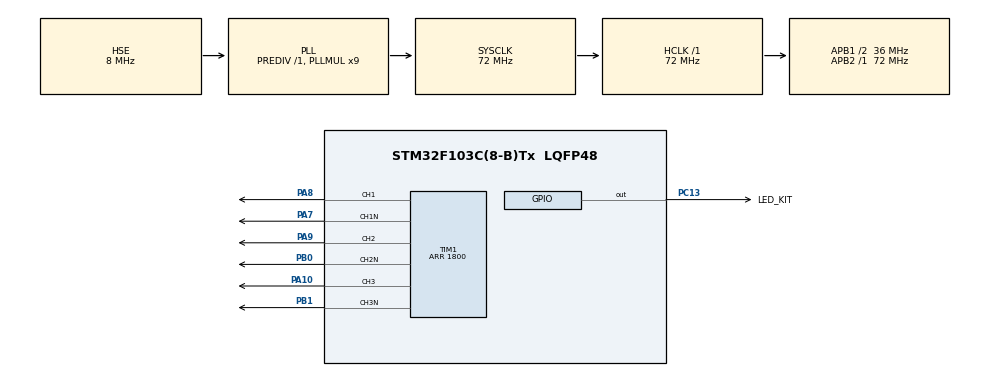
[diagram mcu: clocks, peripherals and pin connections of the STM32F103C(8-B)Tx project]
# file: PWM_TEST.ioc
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Mcu.Family=STM32F1
Mcu.Name=STM32F103C(8-B)Tx
Mcu.Package=LQFP48
NVIC.PriorityGroup=NVIC_PRIORITYGROUP_4
NVIC.TIM1_UP_IRQn=true\:0\:0\:false\:true\:true\:1\:true
NVIC.TIM2_IRQn=true\:1\:0\:true\:true\:true\:2\:true
NVIC.TIM3_IRQn=true\:0\:0\:false\:true\:true\:3\:true
PA10.Signal=S_TIM1_CH3
PA13.Mode=Serial_Wire
PA13.Signal=SYS_JTMS-SWDIO
PA14.Mode=Serial_Wire
PA14.Signal=SYS_JTCK-SWCLK
PA7.Mode=PWM Generation1 CH1 CH1N
PA7.Signal=TIM1_CH1N
PA8.Signal=S_TIM1_CH1
PA9.Signal=S_TIM1_CH2
PB0.Mode=PWM Generation2 CH2 CH2N
PB0.Signal=TIM1_CH2N
PB1.Mode=PWM Generation3 CH3 CH3N
PB1.Signal=TIM1_CH3N
PC13-TAMPER-RTC.GPIO_Label=LED_KIT
PC13-TAMPER-RTC.Signal=GPIO_Output
PD0-OSC_IN.Mode=HSE-External-Oscillator
PD0-OSC_IN.Signal=RCC_OSC_IN
PD1-OSC_OUT.Mode=HSE-External-Oscillator
PD1-OSC_OUT.Signal=RCC_OSC_OUT
ProjectManager.HeapSize=0x200
ProjectManager.StackSize=0x400
ProjectManager.TargetToolchain=MDK-ARM V5
RCC.AHBFreq_Value=72000000
RCC.APB1CLKDivider=RCC_HCLK_DIV2
RCC.APB1Freq_Value=36000000
RCC.APB1TimFreq_Value=72000000
RCC.APB2Freq_Value=72000000
RCC.APB2TimFreq_Value=72000000
RCC.HCLKFreq_Value=72000000
RCC.PLLMUL=RCC_PLL_MUL9
RCC.PLLSourceVirtual=RCC_PLLSOURCE_HSE
RCC.SYSCLKFreq_VALUE=72000000
RCC.SYSCLKSource=RCC_SYSCLKSOURCE_PLLCLK
RCC.USBFreq_Value=72000000
SH.S_TIM1_CH1.0=TIM1_CH1,PWM Generation1 CH1 CH1N
SH.S_TIM1_CH2.0=TIM1_CH2,PWM Generation2 CH2 CH2N
SH.S_TIM1_CH3.0=TIM1_CH3,PWM Generation3 CH3 CH3N
TIM1.BreakState=TIM_BREAK_DISABLE
TIM1.Channel-PWM\ Generation1\ CH1\ CH1N=TIM_CHANNEL_1
TIM1.Channel-PWM\ Generation2\ CH2\ CH2N=TIM_CHANNEL_2
TIM1.Channel-PWM\ Generation3\ CH3\ CH3N=TIM_CHANNEL_3
TIM1.CounterMode=TIM_COUNTERMODE_CENTERALIGNED1
TIM1.DeadTime=0
TIM1.OCNPolarity_1=TIM_OCNPOLARITY_HIGH
TIM1.OCNPolarity_2=TIM_OCNPOLARITY_HIGH
TIM1.OCNPolarity_3=TIM_OCNPOLARITY_HIGH
TIM1.OCPolarity_1=TIM_OCPOLARITY_LOW
TIM1.OCPolarity_2=TIM_OCPOLARITY_LOW
TIM1.OCPolarity_3=TIM_OCPOLARITY_LOW
TIM1.Period=1800
TIM1.Pulse-PWM\ Generation2\ CH2\ CH2N=0
TIM1.Pulse-PWM\ Generation3\ CH3\ CH3N=0
TIM2.Period=9999
TIM2.Prescaler=719
TIM3.Period=999
TIM3.Prescaler=239
VP_TIM1_VS_ClockSourceINT.Mode=Internal
VP_TIM2_VS_ClockSourceINT.Mode=Internal
VP_TIM3_VS_ClockSourceINT.Mode=Internal
board=custom

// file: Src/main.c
/* USER CODE BEGIN Header */
/**
  ******************************************************************************
  * @file           : main.c
  * @brief          : Main program body
  ******************************************************************************
  ** This notice applies to any and all portions of this file
  * that are not between comment pairs USER CODE BEGIN and
  * USER CODE END. Other portions of this file, whether
  * inserted by the user or by software development tools
  * are owned by their respective copyright owners.
  *
  * COPYRIGHT(c) 2020 STMicroelectronics
  *
  * Redistribution and use in source and binary forms, with or without modification,
  * are permitted provided that the following conditions are met:
  *   1. Redistributions of source code must retain the above copyright notice,
  *      this list of conditions and the following disclaimer.
  *   2. Redistributions in binary form must reproduce the above copyright notice,
  *      this list of conditions and the following disclaimer in the documentation
  *      and/or other materials provided with the distribution.
  *   3. Neither the name of STMicroelectronics nor the names of its contributors
  *      may be used to endorse or promote products derived from this software
  *      without specific prior written permission.
  *
  * THIS SOFTWARE IS PROVIDED BY THE COPYRIGHT HOLDERS AND CONTRIBUTORS "AS IS"
  * AND ANY EXPRESS OR IMPLIED WARRANTIES, INCLUDING, BUT NOT LIMITED TO, THE
  * IMPLIED WARRANTIES OF MERCHANTABILITY AND FITNESS FOR A PARTICULAR PURPOSE ARE
  * DISCLAIMED. IN NO EVENT SHALL THE COPYRIGHT HOLDER OR CONTRIBUTORS BE LIABLE
  * FOR ANY DIRECT, INDIRECT, INCIDENTAL, SPECIAL, EXEMPLARY, OR CONSEQUENTIAL
  * DAMAGES (INCLUDING, BUT NOT LIMITED TO, PROCUREMENT OF SUBSTITUTE GOODS OR
  * SERVICES; LOSS OF USE, DATA, OR PROFITS; OR BUSINESS INTERRUPTION) HOWEVER
  * CAUSED AND ON ANY THEORY OF LIABILITY, WHETHER IN CONTRACT, STRICT LIABILITY,
  * OR TORT (INCLUDING NEGLIGENCE OR OTHERWISE) ARISING IN ANY WAY OUT OF THE USE
  * OF THIS SOFTWARE, EVEN IF ADVISED OF THE POSSIBILITY OF SUCH DAMAGE.
  *
  ******************************************************************************
  */
/* USER CODE END Header */

#include "main.h"

/* USER CODE BEGIN PD */
#define PULSE_PER_CYCLE 600
#define WIDTH_OF_STEP		(PULSE_PER_CYCLE/6)
#define TIM_PWM 	htim1

#define SW1_A8_PWM_MODE_CH1				MODIFY_REG(GPIOA->CRH, GPIO_CRH_CNF8_Msk, 0x00000002 << GPIO_CRH_CNF8_Pos)
#define SW2_A9_PWM_MODE_CH2				MODIFY_REG(GPIOA->CRH, GPIO_CRH_CNF9_Msk, 0x00000002 << GPIO_CRH_CNF9_Pos)
#define SW3_A10_PWM_MODE_CH3			MODIFY_REG(GPIOA->CRH, GPIO_CRH_CNF10_Msk,0x00000002 << GPIO_CRH_CNF10_Pos)

#define SW4_A7_PWM_MODE_CH1N			MODIFY_REG(GPIOA->CRL, GPIO_CRL_CNF7_Msk, 0x00000002 << GPIO_CRL_CNF7_Pos)
#define SW5_B0_PWM_MODE_CH2N			MODIFY_REG(GPIOB->CRL, GPIO_CRL_CNF0_Msk, 0x00000002 << GPIO_CRL_CNF0_Pos)
#define SW6_B1_PWM_MODE_CH3N			MODIFY_REG(GPIOB->CRL, GPIO_CRL_CNF1_Msk, 0x00000002 << GPIO_CRL_CNF1_Pos)

#define SW1_A8_GPIO_MODE					MODIFY_REG(GPIOA->CRH, GPIO_CRH_CNF8_Msk, 0)
#define SW2_A9_GPIO_MODE					MODIFY_REG(GPIOA->CRH, GPIO_CRH_CNF9_Msk, 0)
#define SW3_A10_GPIO_MODE					MODIFY_REG(GPIOA->CRH, GPIO_CRH_CNF10_Msk,0)

#define SW4_A7_GPIO_MODE					MODIFY_REG(GPIOA->CRL, GPIO_CRL_CNF7_Msk, 0)
#define SW5_B0_GPIO_MODE					MODIFY_REG(GPIOB->CRL, GPIO_CRL_CNF0_Msk, 0)
#define SW6_B1_GPIO_MODE					MODIFY_REG(GPIOB->CRL, GPIO_CRL_CNF1_Msk, 0)
/* USER CODE END PD */

TIM_HandleTypeDef htim1;
TIM_HandleTypeDef htim2;
TIM_HandleTypeDef htim3;

/* USER CODE BEGIN PV */
int16_t i=0,
				j=4*WIDTH_OF_STEP,
				k=2*WIDTH_OF_STEP;
				/*
int16_t VREF[PULSE_PER_CYCLE] = {
	225,	447,	662,	867,	1058,	1232,	1386,	1519,	1628,	1711,	1768,	1796,
	1796,	1768,	1711,	1628,	1519,	1386,	1232,	1058,	867,	662,	447,	225,
	-226,	-448,	-663,	-868,	-1059,	-1233,	-1387,	-1520,	-1629,	-1712,	-1768,	-1796,
	-1796,	-1768,	-1712,	-1629,	-1520,	-1387,	-1233,	-1059,	-868,	-663,	-448,	-226 };*/
int temp =0;

int16_t VREF[PULSE_PER_CYCLE] = {0,  19,  38,  57,  75,  94,  113,  132,  151,  169,  188,  207,  226,  244,  263,  282,  300,
  319,  337,  356,  374,  393,  411,  429,  448,  466,  484,  502,  520,  538,  556,  574,  592,  610,  627,
	645,  663,  680,  698,  715,  732,  749,  766,  783,  800,  817,  834,  851,  867,  884,  900,  916,  932,
	949,  964,  980,  996,  1012,  1027,  1043,  1058,  1073,  1088,  1103,  1118,  1133,  1147,  1162,  1176,
	1190,  1204,  1218,  1232,  1246,  1259,  1273,  1286,  1299,  1312,  1325,  1338,  1350,  1363,  1375,  1387,
	1399,  1411,  1422,  1434,  1445,  1456,  1467,  1478,  1489,  1499,  1510,  1520,  1530,  1540,  1549,  1559,
	1568,  1577,  1586,  1595,  1604,  1612,  1621,  1629,  1637,  1644,  1652,  1659,  1667,  1674,  1680,  1687,
	1694,  1700,  1706,  1712,  1718,  1723,  1729,  1734,  1739,  1743,  1748,  1752,  1757,  1761,  1764,  1768,
  1772,  1775,  1778,  1781,  1783,  1786,  1788,  1790,  1792,  1794,  1795,  1796,  1798,  1798,  1799,  1800,
	1800,  1800,  1800,  1800,  1799,  1798,  1798,  1796,  1795,  1794,  1792,  1790,  1788,  1786,  1783,  1781,
	1778,  1775,  1772,  1768,  1764,  1761,  1757,  1752,  1748,  1743,  1739,  1734,  1729,  1723,  1718,  1712,
  1706,  1700,  1694,  1687,  1680,  1674,  1667,  1659,  1652,  1644,  1637,  1629,  1621,  1612,  1604,  1595,
	1586,  1577,  1568,  1559,  1549,  1540,  1530,  1520,  1510,  1499,  1489,  1478,  1467,  1456,  1445,  1434,
	1422,  1411,  1399,  1387,  1375,  1363,  1350,  1338,  1325,  1312,  1299,  1286,  1273,  1259,  1246,  1232,
  1218,  1204,  1190,  1176,  1162,  1147,  1133,  1118,  1103,  1088,  1073,  1058,  1043,  1027,  1012,  996,
	980,  964,  949,  932,  916,  900,  884,  867,  851,  834,  817,  800,  783,  766,  749,  732,  715,  698,
	680,  663,  645,  627,  610,  592,  574,  556,  538,  520,  502,  484,  466,  448,  429,  411,  393,  374,
	356,  337,  319,  300,  282,  263,  244,  226,  207,  188,  169,  151,  132,  113,  94,  75,  57,  38,  19,
	0,  -19,  -38,  -57,  -75,  -94,  -113,  -132,  -151,  -169,  -188,  -207,  -226,  -244,  -263,  -282,  -300,
	-319,  -337,  -356,  -374,  -393,  -411,  -429,  -448,  -466,  -484,  -502,  -520,  -538,  -556,  -574,  -592,
  -610,  -627,  -645,  -663,  -680,  -698,  -715,  -732,  -749,  -766,  -783,  -800,  -817,  -834,  -851,  -867,
  -884,  -900,  -916,  -932,  -949,  -964,  -980,  -996,  -1012,  -1027,  -1043,  -1058,  -1073,  -1088,  -1103,
  -1118,  -1133,  -1147,  -1162,  -1176,  -1190,  -1204,  -1218,  -1232,  -1246,  -1259,  -1273,  -1286,  -1299,
  -1312,  -1325,  -1338,  -1350,  -1363,  -1375,  -1387,  -1399,  -1411,  -1422,  -1434,  -1445,  -1456,  -1467,
  -1478,  -1489,  -1499,  -1510,  -1520,  -1530,  -1540,  -1549,  -1559,  -1568,  -1577,  -1586,  -1595,  -1604,
	-1612,  -1621,  -1629,  -1637,  -1644,  -1652,  -1659,  -1667,  -1674,  -1680,  -1687,  -1694,  -1700,  -1706,
	-1712,  -1718,  -1723,  -1729,  -1734,  -1739,  -1743,  -1748,  -1752,  -1757,  -1761,  -1764,  -1768,  -1772,
	-1775,  -1778,  -1781,  -1783,  -1786,  -1788,  -1790,  -1792,  -1794,  -1795,  -1796,  -1798,  -1798,  -1799,
	-1800,  -1800,  -1800,  -1800,  -1800,  -1799,  -1798,  -1798,  -1796,  -1795,  -1794,  -1792,  -1790,  -1788,
  -1786,  -1783,  -1781,  -1778,  -1775,  -1772,  -1768,  -1764,  -1761,  -1757,  -1752,  -1748,  -1743,  -1739,
  -1734,  -1729,  -1723,  -1718,  -1712,  -1706,  -1700,  -1694,  -1687,  -1680,  -1674,  -1667,  -1659,  -1652,
  -1644,  -1637,  -1629,  -1621,  -1612,  -1604,  -1595,  -1586,  -1577,  -1568,  -1559,  -1549,  -1540,  -1530,
  -1520,  -1510,  -1499,  -1489,  -1478,  -1467,  -1456,  -1445,  -1434,  -1422,  -1411,  -1399,  -1387,  -1375,
  -1363,  -1350,  -1338,  -1325,  -1312,  -1299,  -1286,  -1273,  -1259,  -1246,  -1232,  -1218,  -1204,  -1190,
  -1176,  -1162,  -1147,  -1133,  -1118,  -1103,  -1088,  -1073,  -1058,  -1043,  -1027,  -1012,  -996,  -980,
	-964,  -949,  -932,  -916,  -900,  -884,  -867,  -851,  -834,  -817,  -800,  -783,  -766,  -749,  -732,  -715,
  -698,  -680,  -663,  -645,  -627,  -610,  -592,  -574,  -556,  -538,  -520,  -502,  -484,  -466,  -448,  -429,
  -411,  -393,  -374,  -356,  -337,  -319,  -300,  -282,  -263,  -244,  -226,  -207,  -188,  -169,  -151,  -132,
-113,  -94,  -75,  -57,  -38,  -19};

/* USER CODE END PV */

void SystemClock_Config(void);
static void MX_GPIO_Init(void);
static void MX_TIM1_Init(void);
static void MX_TIM2_Init(void);
static void MX_TIM3_Init(void);
static void MX_NVIC_Init(void);
/* USER CODE BEGIN PFP */
void Step1(void);
void Step2(void);
void Step3(void);
void Step4(void);
void Step5(void);
void Step6(void);
void SW1_PWM_SW4_off(void);
void SW2_PWM_SW5_off(void);
void SW3_PWM_SW6_off(void);
void SW4_PWM_SW1_off(void);
void SW5_PWM_SW2_off(void);
void SW6_PWM_SW3_off(void);
void DisableAll(void);
void Step1(void)
{
	SW1_PWM_SW4_off();
	SW3_PWM_SW6_off();
	SW5_PWM_SW2_off();
	TIM1->CCR1 = VREF[i];
	TIM1->CCR2 = -VREF[j];
	TIM1->CCR3 = VREF[k];
}
void Step2(void)
{
	SW1_PWM_SW4_off();
	SW5_PWM_SW2_off();
	SW6_PWM_SW3_off();
	TIM1->CCR1 = VREF[i];
	TIM1->CCR2 = -VREF[j];
	TIM1->CCR3 = -VREF[k];
}
void Step3(void)
{
	SW1_PWM_SW4_off();
	SW2_PWM_SW5_off();
	SW6_PWM_SW3_off();
	TIM1->CCR1 = VREF[i];
	TIM1->CCR2 = VREF[j];
	TIM1->CCR3 = -VREF[k];
}
void Step4(void)
{
	SW2_PWM_SW5_off();
	SW4_PWM_SW1_off();
	SW6_PWM_SW3_off();
	TIM1->CCR1 = -VREF[i];
	TIM1->CCR2 = VREF[j];
	TIM1->CCR3 = -VREF[k];
}
void Step5(void)
{
	SW2_PWM_SW5_off();
	SW3_PWM_SW6_off();
	SW4_PWM_SW1_off();
	TIM1->CCR1 = -VREF[i];
	TIM1->CCR2 = VREF[j];
	TIM1->CCR3 = VREF[k];
}
void Step6(void)
{
	SW3_PWM_SW6_off();
	SW5_PWM_SW2_off();
	SW4_PWM_SW1_off();
	TIM1->CCR1 = -VREF[i];
	TIM1->CCR2 = -VREF[j];
	TIM1->CCR3 = VREF[k];
}
void SW1_PWM_SW4_off(void)
{
	//turn off SW4
	SW4_A7_GPIO_MODE;
	HAL_GPIO_WritePin(GPIOA,GPIO_PIN_7, GPIO_PIN_SET);
	//turn on PWM on PA8 (TIM1_CH1)
	SW1_A8_PWM_MODE_CH1;
}
void SW2_PWM_SW5_off(void)
{
	//turn off SW5
	SW5_B0_GPIO_MODE;
	HAL_GPIO_WritePin(GPIOB,GPIO_PIN_0, GPIO_PIN_SET);
 	//turn on PWM on PA9 (TIM1_CH2)
	SW2_A9_PWM_MODE_CH2;
}
void SW3_PWM_SW6_off(void)
{
		//turn off SW5
	SW6_B1_GPIO_MODE;
	HAL_GPIO_WritePin(GPIOB,GPIO_PIN_1, GPIO_PIN_SET);
 	//turn on PWM on PA10 (TIM1_CH3)
	SW3_A10_PWM_MODE_CH3;
}
void SW4_PWM_SW1_off(void)
{
	//turn off SW1
	SW1_A8_GPIO_MODE;
	HAL_GPIO_WritePin(GPIOA, GPIO_PIN_8, GPIO_PIN_SET);
	//turn on PWM on PA7 (TIM1_CH1)
	SW4_A7_PWM_MODE_CH1N;
}
void SW5_PWM_SW2_off(void)
{
	//turn off SW2
	SW2_A9_GPIO_MODE;
	HAL_GPIO_WritePin(GPIOA, GPIO_PIN_9, GPIO_PIN_SET);
	//turn on PWM on PB0 (TIM1_CH2)
	SW5_B0_PWM_MODE_CH2N;
}
void SW6_PWM_SW3_off(void)
{
	//turn off SW3
	SW3_A10_GPIO_MODE;
	HAL_GPIO_WritePin(GPIOA, GPIO_PIN_10, GPIO_PIN_SET);
	//turn on PWM on PB1 (TIM1_CH3)
	SW6_B1_PWM_MODE_CH3N;
}

void DisableAll(void)
{
	HAL_GPIO_WritePin(GPIOA, GPIO_PIN_7|GPIO_PIN_8|GPIO_PIN_9|GPIO_PIN_10, GPIO_PIN_SET);
	HAL_GPIO_WritePin(GPIOB, GPIO_PIN_0|GPIO_PIN_1,GPIO_PIN_SET);
	SW1_A8_GPIO_MODE;
	SW2_A9_GPIO_MODE;
	SW3_A10_GPIO_MODE;
	SW4_A7_GPIO_MODE;
	SW5_B0_GPIO_MODE;
	SW6_B1_GPIO_MODE;
}

/* USER CODE END PFP */

/* USER CODE BEGIN 0 */
void HAL_TIM_PeriodElapsedCallback(TIM_HandleTypeDef *htim)
{
	if ((htim->Instance == TIM1)&(TIM1->CNT < 1600))
	{
		if (i<WIDTH_OF_STEP)
		{
			Step1();
		}
		else if (i<(2*WIDTH_OF_STEP))
		{
			Step2();
		}
		else if (i<(3*WIDTH_OF_STEP))
		{
			Step3();
		}
		else if (i<(4*WIDTH_OF_STEP))
		{
			Step4();
		}
		else if (i<(5*WIDTH_OF_STEP))
		{
			Step5();
		}
		else if (i<(6*WIDTH_OF_STEP))
		{
			Step6();
		}
		temp = VREF[i];
		HAL_GPIO_ReadPin(GPIOA,GPIO_PIN_0);
		i++;
		j++;
		k++;
		if (i == PULSE_PER_CYCLE) i = 0;
		if (j == PULSE_PER_CYCLE) j = 0;
		if (k == PULSE_PER_CYCLE) k = 0;
		HAL_GPIO_TogglePin(LED_KIT_GPIO_Port, LED_KIT_Pin);
	}
	if (htim->Instance == TIM3)
	{
	}
	if (htim->Instance == TIM2)
	{

	}
}
/* USER CODE END 0 */

int main(void)
{

  /* MCU Configuration--------------------------------------------------------*/

  /* Reset of all peripherals, Initializes the Flash interface and the Systick. */
  HAL_Init();

  /* Configure the system clock */
  SystemClock_Config();

  /* Initialize all configured peripherals */
  MX_GPIO_Init();
  MX_TIM1_Init();
  MX_TIM2_Init();
  MX_TIM3_Init();

  /* Initialize interrupts */
  MX_NVIC_Init();
  /* USER CODE BEGIN 2 */
	HAL_TIM_Base_Start_IT(&htim2);
	HAL_TIM_Base_Start_IT(&htim1);
	HAL_TIM_PWM_Start(&htim1, TIM_CHANNEL_1);
	HAL_TIMEx_PWMN_Start(&htim1, TIM_CHANNEL_1);
	HAL_TIM_PWM_Start(&htim1, TIM_CHANNEL_2);
	HAL_TIMEx_PWMN_Start(&htim1, TIM_CHANNEL_2);
	HAL_TIM_PWM_Start(&htim1, TIM_CHANNEL_3);
	HAL_TIMEx_PWMN_Start(&htim1, TIM_CHANNEL_3);
	DisableAll();
  /* USER CODE END 2 */

  /* Infinite loop */
  while (1)
  {

  }
}

void SystemClock_Config(void)
{
  RCC_OscInitTypeDef RCC_OscInitStruct = {0};
  RCC_ClkInitTypeDef RCC_ClkInitStruct = {0};

  /**Initializes the CPU, AHB and APB busses clocks
  */
  RCC_OscInitStruct.OscillatorType = RCC_OSCILLATORTYPE_HSE;
  RCC_OscInitStruct.HSEState = RCC_HSE_ON;
  RCC_OscInitStruct.HSEPredivValue = RCC_HSE_PREDIV_DIV1;
  RCC_OscInitStruct.HSIState = RCC_HSI_ON;
  RCC_OscInitStruct.PLL.PLLState = RCC_PLL_ON;
  RCC_OscInitStruct.PLL.PLLSource = RCC_PLLSOURCE_HSE;
  RCC_OscInitStruct.PLL.PLLMUL = RCC_PLL_MUL9;
  if (HAL_RCC_OscConfig(&RCC_OscInitStruct) != HAL_OK)
  {
    Error_Handler();
  }
  /**Initializes the CPU, AHB and APB busses clocks
  */
  RCC_ClkInitStruct.ClockType = RCC_CLOCKTYPE_HCLK|RCC_CLOCKTYPE_SYSCLK
                              |RCC_CLOCKTYPE_PCLK1|RCC_CLOCKTYPE_PCLK2;
  RCC_ClkInitStruct.SYSCLKSource = RCC_SYSCLKSOURCE_PLLCLK;
  RCC_ClkInitStruct.AHBCLKDivider = RCC_SYSCLK_DIV1;
  RCC_ClkInitStruct.APB1CLKDivider = RCC_HCLK_DIV2;
  RCC_ClkInitStruct.APB2CLKDivider = RCC_HCLK_DIV1;

  if (HAL_RCC_ClockConfig(&RCC_ClkInitStruct, FLASH_LATENCY_2) != HAL_OK)
  {
    Error_Handler();
  }
}

/**
  * @brief NVIC Configuration.
  * @retval None
  */
static void MX_NVIC_Init(void)
{
  /* TIM1_UP_IRQn interrupt configuration */
  HAL_NVIC_SetPriority(TIM1_UP_IRQn, 0, 0);
  HAL_NVIC_EnableIRQ(TIM1_UP_IRQn);
  /* TIM2_IRQn interrupt configuration */
  HAL_NVIC_SetPriority(TIM2_IRQn, 1, 0);
  HAL_NVIC_EnableIRQ(TIM2_IRQn);
  /* TIM3_IRQn interrupt configuration */
  HAL_NVIC_SetPriority(TIM3_IRQn, 0, 0);
  HAL_NVIC_EnableIRQ(TIM3_IRQn);
}

static void MX_TIM1_Init(void)
{

  TIM_ClockConfigTypeDef sClockSourceConfig = {0};
  TIM_MasterConfigTypeDef sMasterConfig = {0};
  TIM_OC_InitTypeDef sConfigOC = {0};
  TIM_BreakDeadTimeConfigTypeDef sBreakDeadTimeConfig = {0};

  htim1.Instance = TIM1;
  htim1.Init.Prescaler = 0;
  htim1.Init.CounterMode = TIM_COUNTERMODE_CENTERALIGNED1;
  htim1.Init.Period = 1800;
  htim1.Init.ClockDivision = TIM_CLOCKDIVISION_DIV1;
  htim1.Init.RepetitionCounter = 0;
  htim1.Init.AutoReloadPreload = TIM_AUTORELOAD_PRELOAD_DISABLE;
  if (HAL_TIM_Base_Init(&htim1) != HAL_OK)
  {
    Error_Handler();
  }
  sClockSourceConfig.ClockSource = TIM_CLOCKSOURCE_INTERNAL;
  if (HAL_TIM_ConfigClockSource(&htim1, &sClockSourceConfig) != HAL_OK)
  {
    Error_Handler();
  }
  if (HAL_TIM_PWM_Init(&htim1) != HAL_OK)
  {
    Error_Handler();
  }
  sMasterConfig.MasterOutputTrigger = TIM_TRGO_RESET;
  sMasterConfig.MasterSlaveMode = TIM_MASTERSLAVEMODE_DISABLE;
  if (HAL_TIMEx_MasterConfigSynchronization(&htim1, &sMasterConfig) != HAL_OK)
  {
    Error_Handler();
  }
  sConfigOC.OCMode = TIM_OCMODE_PWM1;
  sConfigOC.Pulse = 0;
  sConfigOC.OCPolarity = TIM_OCPOLARITY_LOW;
  sConfigOC.OCNPolarity = TIM_OCNPOLARITY_HIGH;
  sConfigOC.OCFastMode = TIM_OCFAST_DISABLE;
  sConfigOC.OCIdleState = TIM_OCIDLESTATE_RESET;
  sConfigOC.OCNIdleState = TIM_OCNIDLESTATE_RESET;
  if (HAL_TIM_PWM_ConfigChannel(&htim1, &sConfigOC, TIM_CHANNEL_1) != HAL_OK)
  {
    Error_Handler();
  }
  if (HAL_TIM_PWM_ConfigChannel(&htim1, &sConfigOC, TIM_CHANNEL_2) != HAL_OK)
  {
    Error_Handler();
  }
  if (HAL_TIM_PWM_ConfigChannel(&htim1, &sConfigOC, TIM_CHANNEL_3) != HAL_OK)
  {
    Error_Handler();
  }
  sBreakDeadTimeConfig.OffStateRunMode = TIM_OSSR_DISABLE;
  sBreakDeadTimeConfig.OffStateIDLEMode = TIM_OSSI_DISABLE;
  sBreakDeadTimeConfig.LockLevel = TIM_LOCKLEVEL_OFF;
  sBreakDeadTimeConfig.DeadTime = 0;
  sBreakDeadTimeConfig.BreakState = TIM_BREAK_DISABLE;
  sBreakDeadTimeConfig.BreakPolarity = TIM_BREAKPOLARITY_HIGH;
  sBreakDeadTimeConfig.AutomaticOutput = TIM_AUTOMATICOUTPUT_DISABLE;
  if (HAL_TIMEx_ConfigBreakDeadTime(&htim1, &sBreakDeadTimeConfig) != HAL_OK)
  {
    Error_Handler();
  }
  HAL_TIM_MspPostInit(&htim1);

}

static void MX_TIM2_Init(void)
{

  TIM_ClockConfigTypeDef sClockSourceConfig = {0};
  TIM_MasterConfigTypeDef sMasterConfig = {0};

  htim2.Instance = TIM2;
  htim2.Init.Prescaler = 719;
  htim2.Init.CounterMode = TIM_COUNTERMODE_UP;
  htim2.Init.Period = 9999;
  htim2.Init.ClockDivision = TIM_CLOCKDIVISION_DIV1;
  htim2.Init.AutoReloadPreload = TIM_AUTORELOAD_PRELOAD_DISABLE;
  if (HAL_TIM_Base_Init(&htim2) != HAL_OK)
  {
    Error_Handler();
  }
  sClockSourceConfig.ClockSource = TIM_CLOCKSOURCE_INTERNAL;
  if (HAL_TIM_ConfigClockSource(&htim2, &sClockSourceConfig) != HAL_OK)
  {
    Error_Handler();
  }
  sMasterConfig.MasterOutputTrigger = TIM_TRGO_RESET;
  sMasterConfig.MasterSlaveMode = TIM_MASTERSLAVEMODE_DISABLE;
  if (HAL_TIMEx_MasterConfigSynchronization(&htim2, &sMasterConfig) != HAL_OK)
  {
    Error_Handler();
  }

}

static void MX_TIM3_Init(void)
{

  TIM_ClockConfigTypeDef sClockSourceConfig = {0};
  TIM_MasterConfigTypeDef sMasterConfig = {0};

  htim3.Instance = TIM3;
  htim3.Init.Prescaler = 239;
  htim3.Init.CounterMode = TIM_COUNTERMODE_UP;
  htim3.Init.Period = 999;
  htim3.Init.ClockDivision = TIM_CLOCKDIVISION_DIV1;
  htim3.Init.AutoReloadPreload = TIM_AUTORELOAD_PRELOAD_DISABLE;
  if (HAL_TIM_Base_Init(&htim3) != HAL_OK)
  {
    Error_Handler();
  }
  sClockSourceConfig.ClockSource = TIM_CLOCKSOURCE_INTERNAL;
  if (HAL_TIM_ConfigClockSource(&htim3, &sClockSourceConfig) != HAL_OK)
  {
    Error_Handler();
  }
  sMasterConfig.MasterOutputTrigger = TIM_TRGO_RESET;
  sMasterConfig.MasterSlaveMode = TIM_MASTERSLAVEMODE_DISABLE;
  if (HAL_TIMEx_MasterConfigSynchronization(&htim3, &sMasterConfig) != HAL_OK)
  {
    Error_Handler();
  }

}

static void MX_GPIO_Init(void)
{
  GPIO_InitTypeDef GPIO_InitStruct = {0};

  /* GPIO Ports Clock Enable */
  __HAL_RCC_GPIOC_CLK_ENABLE();
  __HAL_RCC_GPIOD_CLK_ENABLE();
  __HAL_RCC_GPIOA_CLK_ENABLE();
  __HAL_RCC_GPIOB_CLK_ENABLE();

  /*Configure GPIO pin Output Level */
  HAL_GPIO_WritePin(LED_KIT_GPIO_Port, LED_KIT_Pin, GPIO_PIN_RESET);

  /*Configure GPIO pin : LED_KIT_Pin */
  GPIO_InitStruct.Pin = LED_KIT_Pin;
  GPIO_InitStruct.Mode = GPIO_MODE_OUTPUT_PP;
  GPIO_InitStruct.Pull = GPIO_NOPULL;
  GPIO_InitStruct.Speed = GPIO_SPEED_FREQ_LOW;
  HAL_GPIO_Init(LED_KIT_GPIO_Port, &GPIO_InitStruct);

}

void Error_Handler(void)
{
}

/************************ (C) COPYRIGHT STMicroelectronics *****END OF FILE****/
